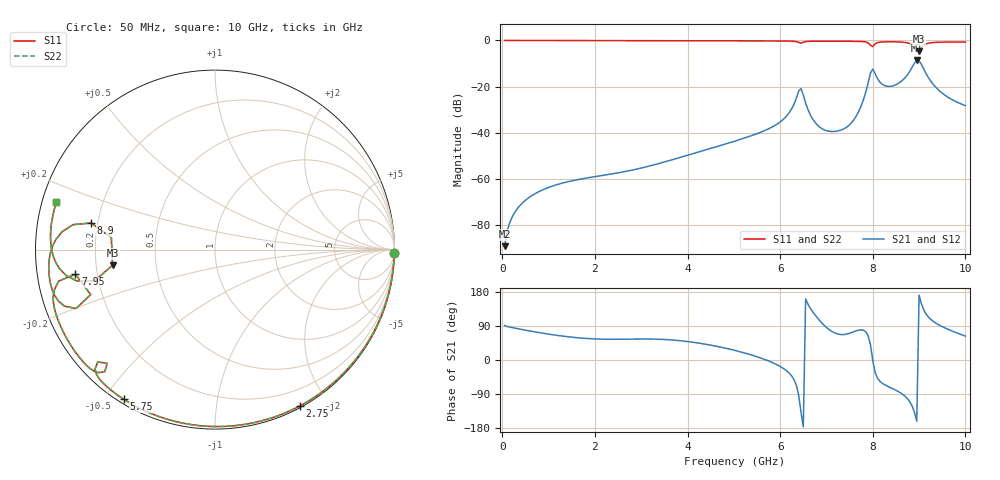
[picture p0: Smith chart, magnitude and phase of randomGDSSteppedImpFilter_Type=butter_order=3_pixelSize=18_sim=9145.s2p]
! freq	dB(S11)	phase(S11)	dB(S12)	phase(S12)
!  dB(S21)	phase(S21)	dB(S22)	phase(S22)
!S-par simulation data
#  GHz  S  DB  R 50
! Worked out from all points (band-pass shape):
!   200 points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, 50 MHz to 10 GHz, reference 50 ohm
!   highest |S21| = -8.61 dB at 8.95 GHz (marker M1); lowest = -89.1 dB at 50 MHz (marker M2)
!   |S21| within 3 dB of the highest: 8.85 GHz to 9.081 GHz (230.4 MHz wide, 2.57 % of centre)
!   lowest |S11| = -4.8 dB at 9 GHz (marker M3), VSWR 3.73, Z = 13.5 - j3.53 ohm
!   |S11| at or under -10 dB: nowhere
!   |S22| runs from -4.8 to 0.0 dB; largest |S21 - S12| = 0
!   S11 on the Smith chart (normalised r, x): 50 MHz: open; 2.75 GHz: 0.02, -1.68; 5.75 GHz: 0.02, -0.56; 7.95 GHz: 0.12, -0.09; 8.9 GHz: 0.17, +0.10; 10 GHz: 0.04, +0.15
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0.05  -0.01 -1.1  -89.07 90.9  -89.07 90.9  -0.01 -1.1
0.7  -0.02 -16.2  -66.42 74.3  -66.42 74.3  -0.02 -16.2
1.75  -0.05 -39.9  -59.81 57.5  -59.81 57.5  -0.05 -39.9
2.75  -0.08 -61.6  -56.35 55.0  -56.35 55.0  -0.08 -61.6
3.4  -0.10 -75.1  -53.18 54.7  -53.18 54.7  -0.10 -75.1
5.05  -0.16 -107.9  -43.41 24.5  -43.41 24.5  -0.16 -107.9
5.75  -0.20 -121.4  -38.29 -2.4  -38.29 -2.4  -0.20 -121.4
6.15  -0.26 -129.7  -32.46 -29.7  -32.46 -29.7  -0.26 -129.7
6.45  -1.18 -133.5  -20.84 -137.8  -20.84 -137.8  -1.17 -133.5
6.7  -0.33 -137.4  -33.93 127.8  -33.93 127.8  -0.33 -137.4
7.05  -0.31 -145.0  -39.29 81.0  -39.29 81.0  -0.31 -145.0
7.45  -0.35 -153.6  -37.34 68.7  -37.34 68.7  -0.35 -153.6
7.75  -0.46 -161.5  -28.27 79.6  -28.27 79.6  -0.46 -161.5
7.95  -2.05 -170.0  -14.12 40.2  -14.12 40.2  -2.05 -170.0
8.05  -1.50 -157.0  -14.31 -32.6  -14.31 -32.6  -1.50 -157.0
8.35  -0.58 -168.8  -19.91 -71.0  -19.91 -71.0  -0.58 -168.8
8.75  -1.03 176.3  -14.81 -102.2  -14.81 -102.2  -1.03 176.3
8.9  -3.03 167.9  -9.85 -137.9  -9.85 -137.9  -3.03 167.9
8.95  -4.71 173.3  -8.61 -161.4  -8.61 -161.4  -4.71 173.3
9  -4.77 -171.3  -8.80 171.4  -8.80 171.4  -4.78 -171.3
9.25  -1.02 -175.2  -17.55 107.5  -17.55 107.5  -1.02 -175.2
10  -0.70 163.3  -28.21 63.1  -28.21 63.1  -0.70 163.3
